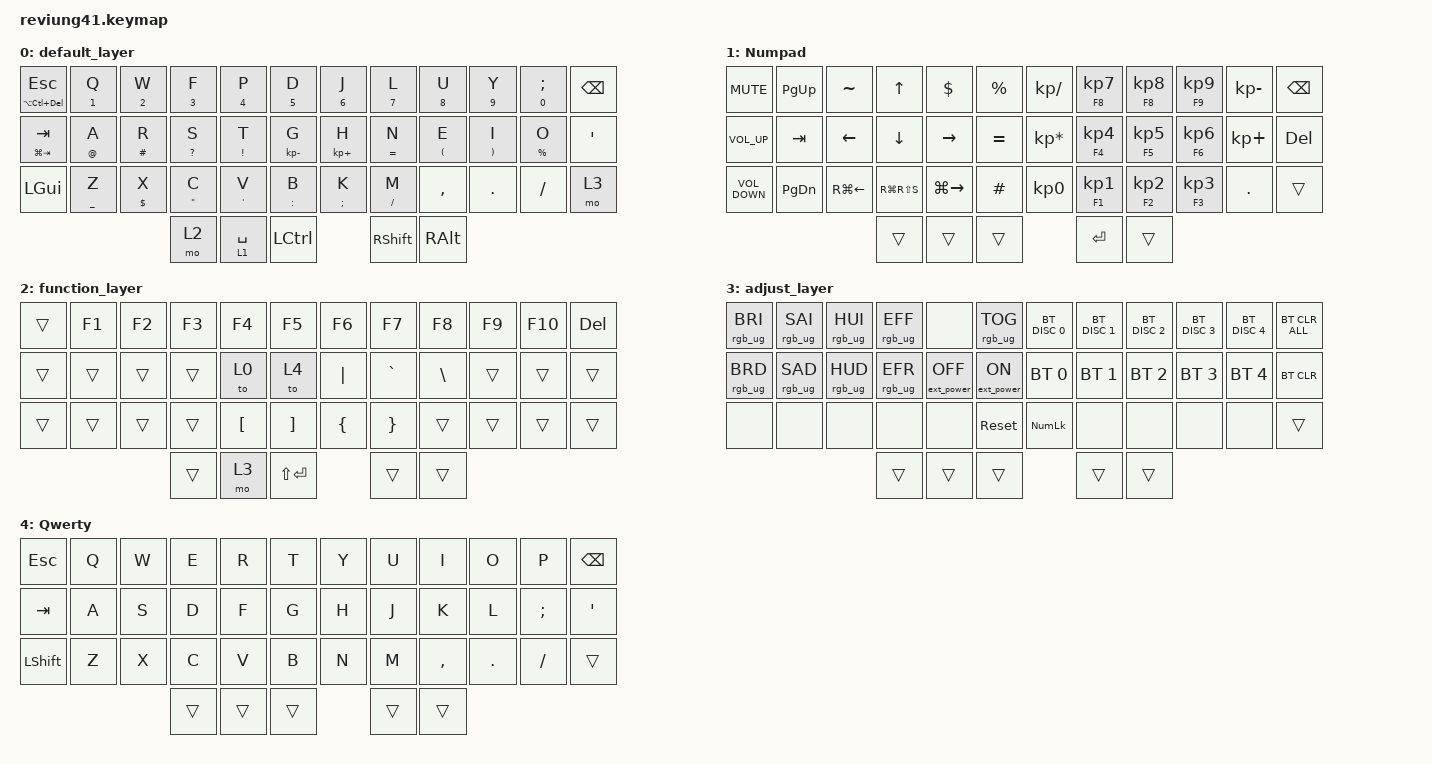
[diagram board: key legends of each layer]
/*
 * Copyright (c) 2020 The ZMK Contributors
 *
 * SPDX-License-Identifier: MIT
 */

#include <behaviors.dtsi>
#include <dt-bindings/zmk/bt.h>
#include <dt-bindings/zmk/ext_power.h>
#include <dt-bindings/zmk/keys.h>
#include <dt-bindings/zmk/rgb.h>

/ {
    behaviors {
        ht: ht {
            compatible = "zmk,behavior-hold-tap";
            label = "Hold tap";
            bindings = <&kp>, <&kp>;

            #binding-cells = <2>;
            tapping-term-ms = <200>;
            flavor = "tap-preferred";
        };
    };

    keymap {
        compatible = "zmk,keymap";

        default_layer {
            // -------------------------------------------------------------------------------------
            // |  TAB |  Q  |  W  |  E  |  R  |  T  |   |  Y  |  U   |  I  |  O  |  P  |   BSPC    |
            // | CTRL |  A  |  S  |  D  |  F  |  G  |   |  H  |  J   |  K  |  L  |  ;  |    '      |
            // | SHFT |  Z  |  X  |  C  |  V  |  B  |   |  N  |  M   |  ,  |  .  |  /  | SHFT(RET) |
            //                         | ALT | LWR | SPC | RSE  | ALT |

            bindings = <
&ht LA(LC(DELETE)) ESCAPE  &ht N1 Q          &ht N2 W      &ht N3 F             &ht N4 P            &ht N5 D                          &ht N6 J         &ht N7 L         &ht N8 U                &ht N9 Y                 &ht N0 SEMICOLON  &kp BACKSPACE
&ht LG(TAB) TAB            &ht AT_SIGN A     &ht HASH R    &ht QUESTION S       &ht EXCL T          &ht KP_MINUS G                    &ht KP_PLUS H    &ht EQUAL N      &ht LEFT_PARENTHESIS E  &ht RIGHT_PARENTHESIS I  &ht PERCENT O     &kp SQT
&kp LEFT_GUI               &ht UNDERSCORE Z  &ht DOLLAR X  &ht DOUBLE_QUOTES C  &ht SINGLE_QUOTE V  &ht COLON B                       &ht SEMICOLON K  &ht SLASH M      &kp COMMA               &kp DOT                  &kp FSLH          &mo 3
                                                           &mo 2                &lt 1 SPACE                         &kp LEFT_CONTROL                   &kp RIGHT_SHIFT  &kp RIGHT_ALT
            >;
        };

        Numpad {
            // ------------------------------------------------------------------------------------
            // |    |  !  |  @  |  #  |  $  |  %  |   |  ^  |  &  |  *  |  (  |  )  |      DEL    |
            // |    |  _  |  +  |  {  |  }  | "|" |   | LFT | DWN |  UP | RGT |  `  |       ~     |
            // |    | ESC | GUI | ALT | CAPS|  "  |   | HOME| END | PGUP| PGDN| PRSC| SHFT(SPACE) |
            //                       |     |     | RET | ADJ |     |

            bindings = <
&kp K_MUTE         &kp PAGE_UP    &kp TILDE           &kp UP_ARROW    &kp DLLR             &kp PRCNT          &kp KP_DIVIDE    &ht F8 KP_N7  &ht F8 KP_N8  &ht F9 KP_N9  &kp KP_SUBTRACT  &kp BACKSPACE
&kp C_VOLUME_UP    &kp TAB        &kp LEFT_ARROW      &kp DOWN_ARROW  &kp RIGHT_ARROW      &kp EQUAL          &kp KP_ASTERISK  &ht F4 KP_N4  &ht F5 KP_N5  &ht F6 KP_N6  &kp KP_PLUS      &kp DELETE
&kp C_VOLUME_DOWN  &kp PAGE_DOWN  &kp RG(LEFT_ARROW)  &kp RG(RS(S))   &kp LG(RIGHT_ARROW)  &kp HASH           &kp KP_N0        &ht F1 KP_N1  &ht F2 KP_N2  &ht F3 KP_N3  &kp PERIOD       &trans
                                                      &trans          &trans                          &trans                   &kp ENTER     &trans
            >;
        };

        function_layer {
            // ----------------------------------------------------------------------------
            // |    |  1  |  2  |  3  |  4  |  5  |   |  6  |  7  |  8  |  9  |  0  | DEL |
            // |    |  -  |  =  |  [  |  ]  |  \  |   | F1  | F2  | F3  | F4  | F5  | F6  |
            // |    | ESC | GUI | ALT | CAPS|  "  |   | F7  | F8  | F9  | F10 | F11 | F12 |
            //                       |     | ADJ | BSPC |    |     |

            bindings = <
&trans  &kp F1  &kp F2  &kp F3  &kp F4            &kp F5                            &kp F6          &kp F7           &kp F8         &kp F9  &kp F10  &kp DEL
&trans  &trans  &trans  &trans  &to 0             &to 4                             &kp PIPE        &kp GRAVE        &kp BACKSLASH  &trans  &trans   &trans
&trans  &trans  &trans  &trans  &kp LEFT_BRACKET  &kp RIGHT_BRACKET                 &kp LEFT_BRACE  &kp RIGHT_BRACE  &trans         &trans  &trans   &trans
                        &trans  &mo 3                                &kp LS(ENTER)                  &trans           &trans
            >;
        };

        adjust_layer {
            // -----------------------------------------------------------------------------------------
            // | RGB BRI+ | RGB SAT+ | RGB HUE+ | RGB ANI+ |    | RGB TOG |   |  BT1  | BT2 | BT3 | BT4 | BT5 | BT CLR |
            // | RGB BRI- | RGB SAT- | RGB HUE- | RGB ANI- |    |         |   |       |     |     |     |     |        |
            // |          |          |          |          |    |         |   | RESET |     |     |     |     |        |
            //                                              |     |     |     |     |     |

            bindings = <
&rgb_ug RGB_BRI  &rgb_ug RGB_SAI  &rgb_ug RGB_HUI  &rgb_ug RGB_EFF  &none              &rgb_ug RGB_TOG           &bt BT_DISC 0   &bt BT_DISC 1  &bt BT_DISC 2  &bt BT_DISC 3  &bt BT_DISC 4  &bt BT_CLR_ALL
&rgb_ug RGB_BRD  &rgb_ug RGB_SAD  &rgb_ug RGB_HUD  &rgb_ug RGB_EFR  &ext_power EP_OFF  &ext_power EP_ON          &bt BT_SEL 0    &bt BT_SEL 1   &bt BT_SEL 2   &bt BT_SEL 3   &bt BT_SEL 4   &bt BT_CLR
&none            &none            &none            &none            &none              &sys_reset                &kp KP_NUMLOCK  &none          &none          &none          &none          &trans
                                                   &trans           &trans                               &trans                  &trans         &trans
            >;
        };

        Qwerty {
            bindings = <
&kp ESC    &kp Q  &kp W  &kp E   &kp R   &kp T          &kp Y  &kp U   &kp I      &kp O    &kp P     &kp BSPC
&kp TAB    &kp A  &kp S  &kp D   &kp F   &kp G          &kp H  &kp J   &kp K      &kp L    &kp SEMI  &kp APOS
&kp LSHFT  &kp Z  &kp X  &kp C   &kp V   &kp B          &kp N  &kp M   &kp COMMA  &kp DOT  &kp FSLH  &trans
                         &trans  &trans         &trans         &trans  &trans
            >;
        };
    };
};
